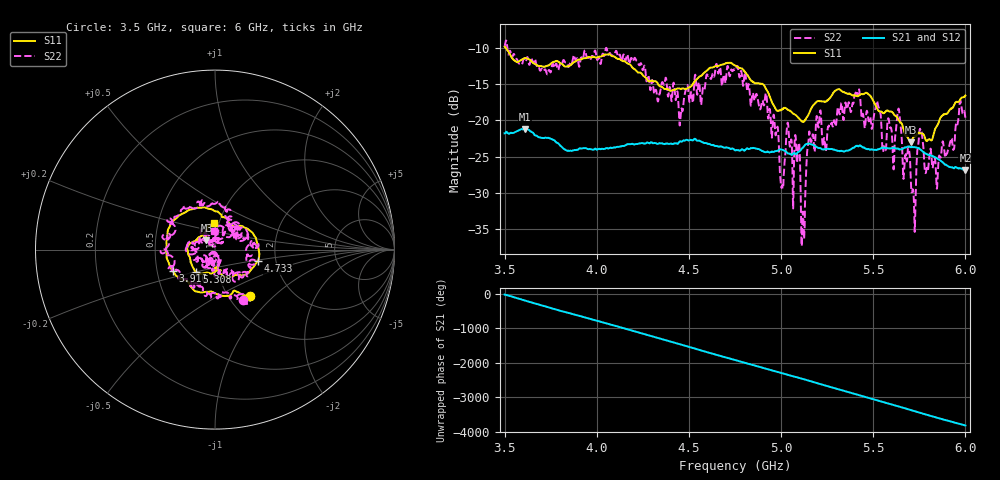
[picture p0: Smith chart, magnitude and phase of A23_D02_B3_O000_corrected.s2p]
! Created with skrf 1.9.0 (http://scikit-rf.org).
# Hz S RI R 50.0
!freq ReS11 ImS11 ReS21 ImS21 ReS12 ImS12 ReS22 ImS22
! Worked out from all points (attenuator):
!   1601 points, 3.5 GHz to 6 GHz, reference 50 ohm
!   highest |S21| = -21.18 dB at 3.611 GHz (marker M1); lowest = -26.8 dB at 6 GHz (marker M2)
!   lowest |S11| = -23.0 dB at 5.703 GHz (marker M3), VSWR 1.15, Z = 45.2 + j4.72 ohm
!   |S11| at or under -10 dB: 3.505 GHz to end of sweep
!   |S22| runs from -37.3 to -9.0 dB; largest |S21 - S12| = 0.001
!   S11 on the Smith chart (normalised r, x): 3.5 GHz: 1.25, -0.72; 3.916 GHz: 0.61, -0.16; 4.733 GHz: 1.61, -0.22; 5.308 GHz: 0.79, -0.21; 6 GHz: 0.94, +0.29
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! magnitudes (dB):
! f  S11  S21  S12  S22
! 3.5 GHz  -9.8  -21.8  -21.8  -9.9
! 3.611 GHz  -11.4  -21.2  -21.2  -11.8
! 3.916 GHz  -11.6  -23.9  -23.9  -11.4
! 3.917 GHz  -11.6  -23.9  -23.9  -11.3
! 4.334 GHz  -15.1  -23.2  -23.1  -17.2
! 4.733 GHz  -12.2  -23.9  -23.9  -13.0
! 4.75 GHz  -12.5  -24.1  -24.0  -13.0
! 4.927 GHz  -16.0  -24.3  -24.3  -18.7
! 5.005 GHz  -18.5  -24.0  -24.0  -29.0
! 5.034 GHz  -18.5  -24.5  -24.4  -20.5
! 5.088 GHz  -19.5  -24.5  -24.5  -25.8
! 5.119 GHz  -20.2  -23.7  -23.7  -32.6
! 5.147 GHz  -19.3  -23.2  -23.2  -23.3
! 5.167 GHz  -18.2  -23.3  -23.3  -22.6
! 5.308 GHz  -15.7  -24.2  -24.1  -18.2
! 5.584 GHz  -18.8  -23.9  -23.8  -19.8
! 5.639 GHz  -20.0  -24.0  -23.9  -18.5
! 5.703 GHz  -23.0  -23.7  -23.7  -27.7
! 5.719 GHz  -22.3  -23.7  -23.6  -30.2
! 5.755 GHz  -21.8  -24.0  -23.9  -21.2
! 5.841 GHz  -20.9  -25.1  -25.1  -27.2
! 6 GHz  -16.6  -26.8  -26.8  -19.7
